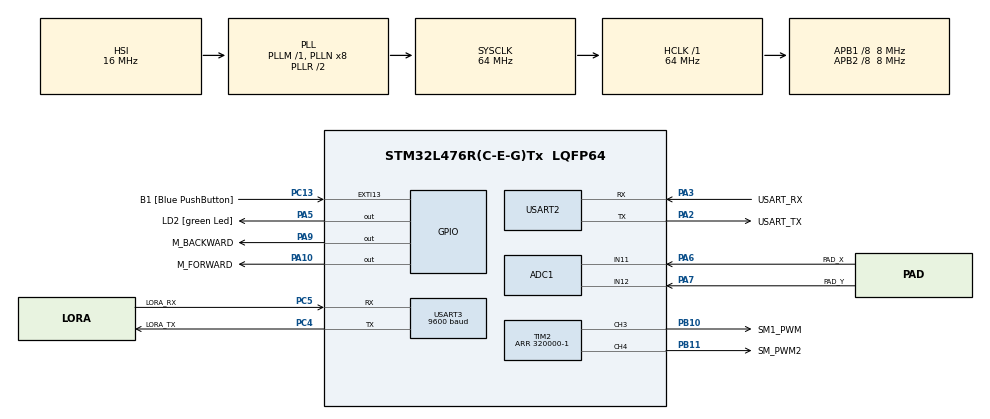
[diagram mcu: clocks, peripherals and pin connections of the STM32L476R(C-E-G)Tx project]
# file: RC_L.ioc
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ADC1.Channel-1\#ChannelRegularConversion=ADC_CHANNEL_11
ADC1.Channel-2\#ChannelRegularConversion=ADC_CHANNEL_12
ADC1.ContinuousConvMode=DISABLE
ADC1.EOCSelection=ADC_EOC_SINGLE_CONV
ADC1.EnableRegularConversion=ENABLE
ADC1.NbrOfConversion=2
ADC1.NbrOfConversionFlag=1
ADC1.OffsetNumber-1\#ChannelRegularConversion=ADC_OFFSET_NONE
ADC1.OffsetNumber-2\#ChannelRegularConversion=ADC_OFFSET_NONE
ADC1.Rank-1\#ChannelRegularConversion=1
ADC1.Rank-2\#ChannelRegularConversion=2
ADC1.SamplingTime-1\#ChannelRegularConversion=ADC_SAMPLETIME_247CYCLES_5
ADC1.SamplingTime-2\#ChannelRegularConversion=ADC_SAMPLETIME_247CYCLES_5
ADC1.master=1
Mcu.Family=STM32L4
Mcu.Name=STM32L476R(C-E-G)Tx
Mcu.Package=LQFP64
NVIC.PriorityGroup=NVIC_PRIORITYGROUP_4
NVIC.USART3_IRQn=true\:0\:0\:false\:false\:true\:true\:true\:true
PA10.GPIO_Label=M_FORWARD
PA10.Signal=GPIO_Output
PA13\ (JTMS-SWDIO).GPIO_Label=TMS
PA13\ (JTMS-SWDIO).Mode=Serial_Wire
PA13\ (JTMS-SWDIO).Signal=SYS_JTMS-SWDIO
PA14\ (JTCK-SWCLK).GPIO_Label=TCK
PA14\ (JTCK-SWCLK).Mode=Serial_Wire
PA14\ (JTCK-SWCLK).Signal=SYS_JTCK-SWCLK
PA2.GPIO_Label=USART_TX
PA2.GPIO_Mode=GPIO_MODE_AF_PP
PA2.GPIO_PuPd=GPIO_NOPULL
PA2.GPIO_Speed=GPIO_SPEED_FREQ_VERY_HIGH
PA2.Mode=Asynchronous
PA2.Signal=USART2_TX
PA3.GPIO_Label=USART_RX
PA3.GPIO_Mode=GPIO_MODE_AF_PP
PA3.GPIO_PuPd=GPIO_NOPULL
PA3.GPIO_Speed=GPIO_SPEED_FREQ_VERY_HIGH
PA3.Mode=Asynchronous
PA3.Signal=USART2_RX
PA5.GPIO_Label=LD2 [green Led]
PA5.GPIO_ModeDefaultOutputPP=GPIO_MODE_OUTPUT_PP
PA5.GPIO_PuPd=GPIO_NOPULL
PA5.GPIO_Speed=GPIO_SPEED_FREQ_LOW
PA5.Signal=GPIO_Output
PA6.GPIO_Label=PAD_X
PA6.Signal=ADCx_IN11
PA7.GPIO_Label=PAD_Y
PA7.Signal=ADCx_IN12
PA9.GPIO_Label=M_BACKWARD
PA9.Signal=GPIO_Output
PB10.GPIO_Label=SM1_PWM
PB10.Signal=S_TIM2_CH3
PB11.GPIO_Label=SM_PWM2
PB11.Signal=S_TIM2_CH4
PB3\ (JTDO-TRACESWO).GPIO_Label=SWO
PB3\ (JTDO-TRACESWO).Signal=SYS_JTDO-SWO
PC13.GPIO_Label=B1 [Blue PushButton]
PC13.GPIO_ModeDefaultEXTI=GPIO_MODE_IT_FALLING
PC13.GPIO_PuPd=GPIO_NOPULL
PC13.Signal=GPXTI13
PC14-OSC32_IN\ (PC14).Mode=LSE-External-Oscillator
PC14-OSC32_IN\ (PC14).Signal=RCC_OSC32_IN
PC15-OSC32_OUT\ (PC15).Mode=LSE-External-Oscillator
PC15-OSC32_OUT\ (PC15).Signal=RCC_OSC32_OUT
PC4.GPIO_Label=LORA_TX
PC4.Mode=Asynchronous
PC4.Signal=USART3_TX
PC5.GPIO_Label=LORA_RX
PC5.Mode=Asynchronous
PC5.Signal=USART3_RX
PH0-OSC_IN\ (PH0).Mode=HSE-External-Oscillator
PH0-OSC_IN\ (PH0).Signal=RCC_OSC_IN
PH1-OSC_OUT\ (PH1).Mode=HSE-External-Oscillator
PH1-OSC_OUT\ (PH1).Signal=RCC_OSC_OUT
ProjectManager.HeapSize=0x200
ProjectManager.StackSize=0x400
ProjectManager.TargetToolchain=STM32CubeIDE
RCC.ADCFreq_Value=64000000
RCC.AHBFreq_Value=64000000
RCC.APB1CLKDivider=RCC_HCLK_DIV8
RCC.APB1Freq_Value=8000000
RCC.APB1TimCLKDivider=2
RCC.APB1TimFreq_Value=16000000
RCC.APB2CLKDivider=RCC_HCLK_DIV8
RCC.APB2Freq_Value=8000000
RCC.APB2TimFreq_Value=16000000
RCC.CortexFreq_Value=64000000
RCC.HCLKFreq_Value=64000000
RCC.HSE_VALUE=8000000
RCC.HSI_VALUE=16000000
RCC.MSI_VALUE=4000000
RCC.PLLSourceVirtual=RCC_PLLSOURCE_HSI
RCC.PREFETCH_ENABLE=1
RCC.SYSCLKFreq_VALUE=64000000
RCC.SYSCLKSource=RCC_SYSCLKSOURCE_PLLCLK
RCC.USBFreq_Value=64000000
RCC.VCOOutputFreq_Value=128000000
SH.ADCx_IN11.0=ADC1_IN11,IN11-Single-Ended
SH.ADCx_IN12.0=ADC1_IN12,IN12-Single-Ended
SH.S_TIM2_CH3.0=TIM2_CH3,PWM Generation3 CH3
SH.S_TIM2_CH4.0=TIM2_CH4,PWM Generation4 CH4
TIM2.AutoReloadPreload=TIM_AUTORELOAD_PRELOAD_ENABLE
TIM2.Channel-PWM\ Generation3\ CH3=TIM_CHANNEL_3
TIM2.Channel-PWM\ Generation4\ CH4=TIM_CHANNEL_4
TIM2.Period=320000-1
TIM2.Pulse-PWM\ Generation3\ CH3=15999
TIM2.Pulse-PWM\ Generation4\ CH4=15999
USART2.VirtualMode-Asynchronous=VM_ASYNC
USART3.BaudRate=9600
USART3.VirtualMode-Asynchronous=VM_ASYNC
VP_TIM2_VS_ClockSourceINT.Mode=Internal
board=NUCLEO-L476RG

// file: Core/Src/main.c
/* USER CODE BEGIN Header */
/**
  ******************************************************************************
  * @file           : main.c
  * @brief          : Main program body
  ******************************************************************************
  * @attention
  *
  * Copyright (c) 2024 STMicroelectronics.
  * All rights reserved.
  *
  * This software is licensed under terms that can be found in the LICENSE file
  * in the root directory of this software component.
  * If no LICENSE file comes with this software, it is provided AS-IS.
  *
  ******************************************************************************
  */
/* USER CODE END Header */
#include "main.h"

ADC_HandleTypeDef hadc1;

TIM_HandleTypeDef htim2;

UART_HandleTypeDef huart2;
UART_HandleTypeDef huart3;

/* USER CODE BEGIN PV */
uint8_t angle = 6;
uint16_t speed = 1650; // Indicates the speed and the direction (0->MAX backward, 1650->stop, 3300->MAX forward)
uint8_t loraDataRx[3] = {0};
/* USER CODE END PV */

void SystemClock_Config(void);
static void MX_GPIO_Init(void);
static void MX_ADC1_Init(void);
static void MX_TIM2_Init(void);
static void MX_USART2_UART_Init(void);
static void MX_USART3_UART_Init(void);
/* USER CODE BEGIN PFP */
static void analogPad_process(void);
/* USER CODE END PFP */

int main(void)
{
  /* USER CODE BEGIN 1 */
	float duty;
	uint8_t anglep;
  /* USER CODE END 1 */

  /* MCU Configuration--------------------------------------------------------*/

  /* Reset of all peripherals, Initializes the Flash interface and the Systick. */
  HAL_Init();

  /* Configure the system clock */
  SystemClock_Config();

  /* Initialize all configured peripherals */
  MX_GPIO_Init();
  MX_ADC1_Init();
  MX_TIM2_Init();
  MX_USART2_UART_Init();
  MX_USART3_UART_Init();
  /* USER CODE BEGIN 2 */
  HAL_TIM_PWM_Start(&htim2, TIM_CHANNEL_3);
  HAL_TIM_PWM_Start(&htim2, TIM_CHANNEL_4);

  // Set an initial duty cycle for an angle of 6 degree (middle)
  duty = ( ( ( 0 / 18.0 ) + 2 ) / 100 );
  __HAL_TIM_SET_COMPARE(&htim2, TIM_CHANNEL_3, ( duty * htim2.Init.Period ));
  duty = ( ( ( 180 / 18.0 ) + 2 ) / 100 );
  __HAL_TIM_SET_COMPARE(&htim2, TIM_CHANNEL_4, ( duty * htim2.Init.Period ));

  HAL_UART_Transmit_IT(&huart3, (uint8_t *)('k'), 1);

  HAL_UART_Receive_IT(&huart3, loraDataRx, 1);

  /* USER CODE END 2 */

  /* Infinite loop */
  while (1)
  {
		  // Delay between each iteration
		  HAL_Delay(20);

		  // Servo motor angle //

		  if(angle < 80 )
		  {

			  // Turn right

			  anglep = angle + 100;
			  duty = ( ( ( 0 / 18.0 ) + 2 ) / 100.0 );
			  __HAL_TIM_SET_COMPARE(&htim2, TIM_CHANNEL_3, ( duty * htim2.Init.Period ));
			  duty = ( ( (anglep / 18.0 ) + 2 ) / 100.0 );
			  __HAL_TIM_SET_COMPARE(&htim2, TIM_CHANNEL_4, ( duty * htim2.Init.Period ));

		  }
		  else if(angle > 100)
		  {

			  // Turn left

			  anglep = angle + 50;
			  duty = ( ( ( anglep / 18.0 ) + 2 ) / 100.0 );
			  __HAL_TIM_SET_COMPARE(&htim2, TIM_CHANNEL_3, ( duty * htim2.Init.Period ));
			  duty = ( ( ( 180 / 18.0 ) + 2 ) / 100.0 );
			  __HAL_TIM_SET_COMPARE(&htim2, TIM_CHANNEL_4, ( duty * htim2.Init.Period ));

		  }
		  else
		  {

			  // Straight

			  duty = ( ( ( 0 / 18.0 ) + 2 ) / 100.0 );
			  __HAL_TIM_SET_COMPARE(&htim2, TIM_CHANNEL_3, ( duty * htim2.Init.Period ));
			  duty = ( ( ( 180 / 18.0 ) + 2 ) / 100.0 );
			  __HAL_TIM_SET_COMPARE(&htim2, TIM_CHANNEL_4, ( duty * htim2.Init.Period ));

		  }

		  // Motor speed //

		  if(speed > 200)
		  {

			  // Motor forward rotation

			  HAL_GPIO_WritePin(M_BACKWARD_GPIO_Port, M_BACKWARD_Pin, 0);
			  HAL_GPIO_WritePin(M_FORWARD_GPIO_Port, M_FORWARD_Pin, 1);

		  }
		  else if( speed < 100 )
		  {

			  // Motor backward rotation

			  HAL_GPIO_WritePin(M_FORWARD_GPIO_Port, M_FORWARD_Pin, 0);
			  HAL_GPIO_WritePin(M_BACKWARD_GPIO_Port, M_BACKWARD_Pin, 1);

		  }
		  else
		  {

			  // Stop

			  HAL_GPIO_WritePin(M_FORWARD_GPIO_Port, M_FORWARD_Pin, 0);
			  HAL_GPIO_WritePin(M_BACKWARD_GPIO_Port, M_BACKWARD_Pin, 0);

		  }

	  }
}

void SystemClock_Config(void)
{
  RCC_OscInitTypeDef RCC_OscInitStruct = {0};
  RCC_ClkInitTypeDef RCC_ClkInitStruct = {0};

  /** Configure the main internal regulator output voltage
  */
  if (HAL_PWREx_ControlVoltageScaling(PWR_REGULATOR_VOLTAGE_SCALE1) != HAL_OK)
  {
    Error_Handler();
  }

  /** Initializes the RCC Oscillators according to the specified parameters
  * in the RCC_OscInitTypeDef structure.
  */
  RCC_OscInitStruct.OscillatorType = RCC_OSCILLATORTYPE_HSI;
  RCC_OscInitStruct.HSIState = RCC_HSI_ON;
  RCC_OscInitStruct.HSICalibrationValue = RCC_HSICALIBRATION_DEFAULT;
  RCC_OscInitStruct.PLL.PLLState = RCC_PLL_ON;
  RCC_OscInitStruct.PLL.PLLSource = RCC_PLLSOURCE_HSI;
  RCC_OscInitStruct.PLL.PLLM = 1;
  RCC_OscInitStruct.PLL.PLLN = 8;
  RCC_OscInitStruct.PLL.PLLP = RCC_PLLP_DIV7;
  RCC_OscInitStruct.PLL.PLLQ = RCC_PLLQ_DIV2;
  RCC_OscInitStruct.PLL.PLLR = RCC_PLLR_DIV2;
  if (HAL_RCC_OscConfig(&RCC_OscInitStruct) != HAL_OK)
  {
    Error_Handler();
  }

  /** Initializes the CPU, AHB and APB buses clocks
  */
  RCC_ClkInitStruct.ClockType = RCC_CLOCKTYPE_HCLK|RCC_CLOCKTYPE_SYSCLK
                              |RCC_CLOCKTYPE_PCLK1|RCC_CLOCKTYPE_PCLK2;
  RCC_ClkInitStruct.SYSCLKSource = RCC_SYSCLKSOURCE_PLLCLK;
  RCC_ClkInitStruct.AHBCLKDivider = RCC_SYSCLK_DIV1;
  RCC_ClkInitStruct.APB1CLKDivider = RCC_HCLK_DIV8;
  RCC_ClkInitStruct.APB2CLKDivider = RCC_HCLK_DIV8;

  if (HAL_RCC_ClockConfig(&RCC_ClkInitStruct, FLASH_LATENCY_3) != HAL_OK)
  {
    Error_Handler();
  }
}

static void MX_ADC1_Init(void)
{

  ADC_MultiModeTypeDef multimode = {0};
  ADC_ChannelConfTypeDef sConfig = {0};

  /** Common config
  */
  hadc1.Instance = ADC1;
  hadc1.Init.ClockPrescaler = ADC_CLOCK_ASYNC_DIV1;
  hadc1.Init.Resolution = ADC_RESOLUTION_12B;
  hadc1.Init.DataAlign = ADC_DATAALIGN_RIGHT;
  hadc1.Init.ScanConvMode = ADC_SCAN_ENABLE;
  hadc1.Init.EOCSelection = ADC_EOC_SINGLE_CONV;
  hadc1.Init.LowPowerAutoWait = DISABLE;
  hadc1.Init.ContinuousConvMode = DISABLE;
  hadc1.Init.NbrOfConversion = 2;
  hadc1.Init.DiscontinuousConvMode = DISABLE;
  hadc1.Init.ExternalTrigConv = ADC_SOFTWARE_START;
  hadc1.Init.ExternalTrigConvEdge = ADC_EXTERNALTRIGCONVEDGE_NONE;
  hadc1.Init.DMAContinuousRequests = DISABLE;
  hadc1.Init.Overrun = ADC_OVR_DATA_PRESERVED;
  hadc1.Init.OversamplingMode = DISABLE;
  if (HAL_ADC_Init(&hadc1) != HAL_OK)
  {
    Error_Handler();
  }

  /** Configure the ADC multi-mode
  */
  multimode.Mode = ADC_MODE_INDEPENDENT;
  if (HAL_ADCEx_MultiModeConfigChannel(&hadc1, &multimode) != HAL_OK)
  {
    Error_Handler();
  }

  /** Configure Regular Channel
  */
  sConfig.Channel = ADC_CHANNEL_11;
  sConfig.Rank = ADC_REGULAR_RANK_1;
  sConfig.SamplingTime = ADC_SAMPLETIME_247CYCLES_5;
  sConfig.SingleDiff = ADC_SINGLE_ENDED;
  sConfig.OffsetNumber = ADC_OFFSET_NONE;
  sConfig.Offset = 0;
  if (HAL_ADC_ConfigChannel(&hadc1, &sConfig) != HAL_OK)
  {
    Error_Handler();
  }

  /** Configure Regular Channel
  */
  sConfig.Channel = ADC_CHANNEL_12;
  sConfig.Rank = ADC_REGULAR_RANK_2;
  if (HAL_ADC_ConfigChannel(&hadc1, &sConfig) != HAL_OK)
  {
    Error_Handler();
  }

}

static void MX_TIM2_Init(void)
{

  TIM_ClockConfigTypeDef sClockSourceConfig = {0};
  TIM_MasterConfigTypeDef sMasterConfig = {0};
  TIM_OC_InitTypeDef sConfigOC = {0};

  htim2.Instance = TIM2;
  htim2.Init.Prescaler = 0;
  htim2.Init.CounterMode = TIM_COUNTERMODE_UP;
  htim2.Init.Period = 320000-1;
  htim2.Init.ClockDivision = TIM_CLOCKDIVISION_DIV1;
  htim2.Init.AutoReloadPreload = TIM_AUTORELOAD_PRELOAD_ENABLE;
  if (HAL_TIM_Base_Init(&htim2) != HAL_OK)
  {
    Error_Handler();
  }
  sClockSourceConfig.ClockSource = TIM_CLOCKSOURCE_INTERNAL;
  if (HAL_TIM_ConfigClockSource(&htim2, &sClockSourceConfig) != HAL_OK)
  {
    Error_Handler();
  }
  if (HAL_TIM_PWM_Init(&htim2) != HAL_OK)
  {
    Error_Handler();
  }
  sMasterConfig.MasterOutputTrigger = TIM_TRGO_RESET;
  sMasterConfig.MasterSlaveMode = TIM_MASTERSLAVEMODE_DISABLE;
  if (HAL_TIMEx_MasterConfigSynchronization(&htim2, &sMasterConfig) != HAL_OK)
  {
    Error_Handler();
  }
  sConfigOC.OCMode = TIM_OCMODE_PWM1;
  sConfigOC.Pulse = 15999;
  sConfigOC.OCPolarity = TIM_OCPOLARITY_HIGH;
  sConfigOC.OCFastMode = TIM_OCFAST_DISABLE;
  if (HAL_TIM_PWM_ConfigChannel(&htim2, &sConfigOC, TIM_CHANNEL_3) != HAL_OK)
  {
    Error_Handler();
  }
  if (HAL_TIM_PWM_ConfigChannel(&htim2, &sConfigOC, TIM_CHANNEL_4) != HAL_OK)
  {
    Error_Handler();
  }
  HAL_TIM_MspPostInit(&htim2);

}

static void MX_USART2_UART_Init(void)
{

  huart2.Instance = USART2;
  huart2.Init.BaudRate = 115200;
  huart2.Init.WordLength = UART_WORDLENGTH_8B;
  huart2.Init.StopBits = UART_STOPBITS_1;
  huart2.Init.Parity = UART_PARITY_NONE;
  huart2.Init.Mode = UART_MODE_TX_RX;
  huart2.Init.HwFlowCtl = UART_HWCONTROL_NONE;
  huart2.Init.OverSampling = UART_OVERSAMPLING_16;
  huart2.Init.OneBitSampling = UART_ONE_BIT_SAMPLE_DISABLE;
  huart2.AdvancedInit.AdvFeatureInit = UART_ADVFEATURE_NO_INIT;
  if (HAL_UART_Init(&huart2) != HAL_OK)
  {
    Error_Handler();
  }

}

static void MX_USART3_UART_Init(void)
{

  huart3.Instance = USART3;
  huart3.Init.BaudRate = 9600;
  huart3.Init.WordLength = UART_WORDLENGTH_8B;
  huart3.Init.StopBits = UART_STOPBITS_1;
  huart3.Init.Parity = UART_PARITY_NONE;
  huart3.Init.Mode = UART_MODE_TX_RX;
  huart3.Init.HwFlowCtl = UART_HWCONTROL_NONE;
  huart3.Init.OverSampling = UART_OVERSAMPLING_16;
  huart3.Init.OneBitSampling = UART_ONE_BIT_SAMPLE_DISABLE;
  huart3.AdvancedInit.AdvFeatureInit = UART_ADVFEATURE_NO_INIT;
  if (HAL_UART_Init(&huart3) != HAL_OK)
  {
    Error_Handler();
  }

}

static void MX_GPIO_Init(void)
{
  GPIO_InitTypeDef GPIO_InitStruct = {0};

  /* GPIO Ports Clock Enable */
  __HAL_RCC_GPIOC_CLK_ENABLE();
  __HAL_RCC_GPIOH_CLK_ENABLE();
  __HAL_RCC_GPIOA_CLK_ENABLE();
  __HAL_RCC_GPIOB_CLK_ENABLE();

  /*Configure GPIO pin Output Level */
  HAL_GPIO_WritePin(GPIOA, LD2_Pin|M_BACKWARD_Pin|M_FORWARD_Pin, GPIO_PIN_RESET);

  /*Configure GPIO pin : B1_Pin */
  GPIO_InitStruct.Pin = B1_Pin;
  GPIO_InitStruct.Mode = GPIO_MODE_IT_FALLING;
  GPIO_InitStruct.Pull = GPIO_NOPULL;
  HAL_GPIO_Init(B1_GPIO_Port, &GPIO_InitStruct);

  /*Configure GPIO pins : LD2_Pin M_BACKWARD_Pin M_FORWARD_Pin */
  GPIO_InitStruct.Pin = LD2_Pin|M_BACKWARD_Pin|M_FORWARD_Pin;
  GPIO_InitStruct.Mode = GPIO_MODE_OUTPUT_PP;
  GPIO_InitStruct.Pull = GPIO_NOPULL;
  GPIO_InitStruct.Speed = GPIO_SPEED_FREQ_LOW;
  HAL_GPIO_Init(GPIOA, &GPIO_InitStruct);

}

/* USER CODE BEGIN 4 */
static void analogPad_process(void)
{

	static uint8_t flag = 0;

	if(flag == 0)
	{

		angle = loraDataRx[0];//( analog_padx * (180.0 / 3300.0) );

	}
	else
	{

		speed = loraDataRx[0];//( analog_padx * (180.0 / 3300.0) );

	}

	flag = 1 - flag;

	return;

}

void HAL_UART_RxCpltCallback(UART_HandleTypeDef *huart)
{

	// Evaluation of the analog pad
	analogPad_process();

	// Start a new reception
	HAL_UART_Transmit_IT(&huart3, (uint8_t *)('k'), 1);
	HAL_UART_Receive_IT(&huart3, loraDataRx, 1);

}

/* USER CODE END 4 */

void Error_Handler(void)
{
  __disable_irq();
  while (1)
  {
  }
}
